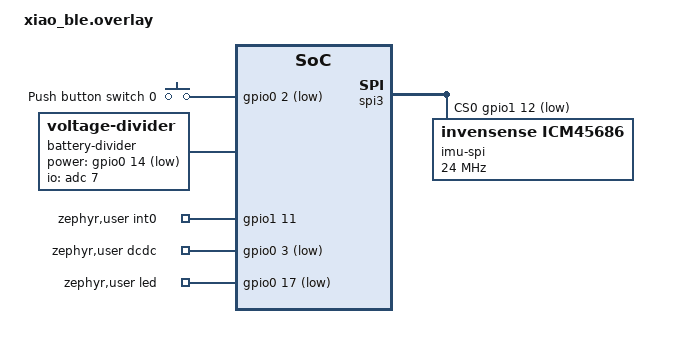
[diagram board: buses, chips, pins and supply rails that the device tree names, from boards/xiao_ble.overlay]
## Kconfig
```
#
# Copyright (c) 2023 Nordic Semiconductor
#
# SPDX-License-Identifier: LicenseRef-Nordic-5-Clause
#

config USE_SLIMENRF_CONSOLE
    bool "Use basic console"
    default y
    help
        Use basic console for commands.

config BATTERY_CHARGER_HAS_NTC
    bool "Battery thermistor"
    help
      Flag for battery NTC thermistor availability.

choice
    prompt "Battery voltage mapping"
    default BATTERY_NO_MAPPING

config BATTERY_USE_REG_BUCK_MAPPING
    bool "Use buck regulator mapping (3.7V battery, DCDC)"
    help
      Use a constant power mapping for battery voltage.
      Preffered for systems with a buck regulator.
      Measured at a system voltage of 3.0V.

config BATTERY_USE_REG_LDO_MAPPING
    bool "Use LDO linear regulator mapping (3.7V battery, LDO)"
    help
      Use a constant current mapping for battery voltage.
      Preferred for systems with a linear regulator.

config BATTERY_USE_NIMH_MAPPING
        bool "Use 1-cell NiMH mapping"
        help
            Use a voltage curve tuned for a single NiMH cell.
            This is intended for primary battery monitoring paths that
            report cell voltage directly, such as nPM2100 VBAT.

config BATTERY_NO_MAPPING
    bool "Disable battery voltage mapping"
    help
      Always map to 100% battery. Disables battery monitoring.

endchoice

config BATTERY_LOW_RUNTIME_THRESHOLD
    int "Low battery runtime threshold (ms)"
    default 10800000
    help
      Trigger low battery when estimated runtime falls below threshold.
      If estimated runtime is not available, low battery will trigger under 10% estimated state of charge.

choice
    prompt "Status LED color mapping"
    default LED_TRI_COLOR

config LED_RGB_COLOR
    bool "Use RGB color mapping"
    help
        Use RGB or RG color mapping for LED status if available.

config LED_TRI_COLOR
    bool "Use default color mapping"
    help
        Use the default color mapping for LED status.

endchoice

menu "Status LED default status color"
    depends on LED_RGB_COLOR

config LED_DEFAULT_COLOR_R
    int "Red value"
    range 0 10000
    default 4000
    depends on LED_RGB_COLOR
    help
        Red color for default status.
        Valid range is 0 to 10000.

config LED_DEFAULT_COLOR_G
    int "Green value"
    range 0 10000
    default 6000
    depends on LED_RGB_COLOR
    help
        Green color for default status.
        Valid range is 0 to 10000.

config LED_DEFAULT_COLOR_B
    int "Blue value"
    range 0 10000
    default 0
    depends on LED_RGB_COLOR
    help
        Blue color for default status.
        Valid range is 0 to 10000.

endmenu

config USER_EXTRA_ACTIONS
    bool "Multiple press actions"
    help
        Allow user to use multiple presses to calibrate, pair, or enter DFU.
        By default, pairing is available when holding down sw0 for 5 seconds.
        By default, DFU is available when holding down sw0 and plugging in a USB cable.

config IGNORE_RESET
    bool "Ignore reset"
    default y
    help
        If sw0 is available, don't perform any extra actions on reset.

config USER_SHUTDOWN
    bool "User shutdown support"
    default y
    help
        Allow user to use reset or sw0 to shutdown.

config USE_IMU_WAKE_UP
    bool "IMU wake up support"
    default y
    help
        Use IMU wake up state if IMU wake up is present.

config DELAY_SLEEP_ON_STATUS
    bool "Delay IMU wake up mode on status flags"
    default y
    depends on USE_IMU_WAKE_UP
    help
        Delay IMU wake up state if there is an active status flag or in pairing mode.

config WOM_USE_DCDC
    bool "Use DCDC in IMU wake up mode"
    depends on USE_IMU_WAKE_UP
    help
        Use DCDC instead of LDO in IMU wake up state if it is more efficient.

config CONNECTION_TIMEOUT_DELAY
    int "Connection timeout delay (ms)"
    default 300000
    depends on USER_SHUTDOWN
    help
        Connection timeout duration when receiver is not detected.

menu "Sensor power saving"

config SENSOR_LP_TIMEOUT
    int "Sensor low power delay (ms)"
    default 500
    help
        Low power timeout during no motion.

config SENSOR_USE_LOW_POWER_2
    bool "Use additional low power modes"
    help
        Use a higher latency sensor mode during no motion.

config USE_IMU_TIMEOUT
    bool "Use IMU wake up state"
    default y
    depends on USE_IMU_WAKE_UP
    help
        Use IMU wake up state during no motion.

config IMU_TIMEOUT_RAMP_MIN
    int "Sensor timeout minimum delay (ms)"
    default 5000
    depends on USE_IMU_TIMEOUT || SENSOR_USE_LOW_POWER_2
    help
        Minimum timeout during no motion. Initial period on wake up.

config IMU_TIMEOUT_RAMP_MAX
    int "Sensor timeout maximum delay (ms)"
    default 15000
    depends on USE_IMU_TIMEOUT || SENSOR_USE_LOW_POWER_2
    help
        Maximum timeout during no motion.

config USE_ACTIVE_TIMEOUT
    bool "Use activity timeout"
    default y
    depends on USE_IMU_WAKE_UP || USER_SHUTDOWN
    help
        Delay IMU wake up state or user shutdown during activity.

choice
    prompt "Activity timeout mode"
    default SLEEP_ON_ACTIVE_TIMEOUT
    depends on USE_ACTIVE_TIMEOUT

config SLEEP_ON_ACTIVE_TIMEOUT
    bool "IMU wake up"
    depends on USE_IMU_WAKE_UP
    help
        Use IMU wake up state when activity timeout elapses.

config SHUTDOWN_ON_ACTIVE_TIMEOUT
    bool "User shutdown"
    depends on USER_SHUTDOWN
    help
        Use user shutdown when activity timeout elapses.

endchoice

config ACTIVE_TIMEOUT_THRESHOLD
    int "Activity timeout threshold (ms)"
    default 15000
    depends on USE_ACTIVE_TIMEOUT
    help
        Trigger activity timeout after a certain threshold of activity.

config ACTIVE_TIMEOUT_DELAY
    int "Activity timeout delay (ms)"
    default 900000
    depends on USE_ACTIVE_TIMEOUT
    help
        Activity timeout duration when triggered.

endmenu

config SENSOR_ACCEL_ODR
    int "Accelerometer output data rate (Hz)"
    default 100
    help
        Requested accelerometer output data rate. Actual rate will be raised to the nearest supported rate.
        A higher rate will increase the time to read and process sensor data.

config SENSOR_GYRO_ODR
    int "Gyrometer output data rate (Hz)"
    default 200
    help
        Requested gyrometer output data rate. Actual rate will be raised to the nearest supported rate.
        A higher rate will increase the time to read and process sensor data.
        A lower rate is recommended for IMUs with poor gyrometer rate noise density. (e.g. BMI270, LSM6DS3TR-C)

config SENSOR_ACCEL_FS
    int "Accelerometer full scale (g)"
    default 4
    help
        Requested accelerometer full scale. Actual scale will be raised to the nearest supported scale.
        A lower scale may improve noise performance, but is more likely to saturate.

config SENSOR_GYRO_FS
    int "Gyrometer full scale (dps)"
    default 1000
    help
        Requested gyrometer full scale. Actual scale will be raised to the nearest supported scale.
        A lower scale may improve noise performance, but is more likely to saturate.

config SENSOR_USE_MAG
    bool "Magnetometer support"
    default y
    help
        Use magnetometer if it is present.

config USE_SENSOR_CLOCK
    bool "Use external IMU clock"
    default y
    help
        Use external IMU clock if it is present.

choice
    prompt "Sensor fusion"
    default SENSOR_USE_VQF
    help
        Select the sensor fusion method.

config SENSOR_USE_XIOFUSION
    bool "Use x-io Technologies Fusion"
    help
        Use x-io Technologies Fusion for sensor fusion.
        Based on Madgwick filter.

config SENSOR_USE_VQF
    bool "Use VQF"
    help
        Use VQF for sensor fusion.
        Based on Kalman filter.

endchoice

config SENSOR_USE_6_SIDE_CALIBRATION
    bool "Use 6-side calibration"
    default y
    depends on USE_SLIMENRF_CONSOLE
    help
        Use 6-side calibration for accelerometer.
        Calibration can be completed through the basic console.

config RADIO_TX_POWER
    int "Radio output power (dBm)"
    default 8
    help
        Radio output power level.
        A lower value may reduce power consumption.

config CONNECTION_OVER_HID
    bool "Use HID for data output"
    help
        Use HID if available.
        Otherwise, use ESB only.

source "Kconfig.zephyr"
```

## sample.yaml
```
tests:
  common:
    platform_allow:
      - nrf21540dk/nrf52840
      - nrf52840dk/nrf52840
      - nrf52840dongle/nrf52840
      - nrf52dk/nrf52832
      - nrf5340dk/nrf5340/cpuapp
      - nrf5340dk/nrf5340/cpunet
      - nrf54l15dk/nrf54l15/cpuapp
      - xiao_ble/nrf52840
      - xiao_ble/nrf52840/sense
      - an54lq-15/nrf54l15/cpuapp
    sysbuild: true
```

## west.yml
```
manifest:
  version: "1.2"
  projects:

    # nRF-Connect SDK
    - name: sdk-nrf
      path: nrf
      url: https://github.com/nrfconnect/sdk-nrf.git
      revision: v3.2.3
      import: true
```

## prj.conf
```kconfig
#CONFIG_NCS_SAMPLES_DEFAULTS
CONFIG_ASSERT=y
CONFIG_ASSERT_NO_COND_INFO=y
CONFIG_ASSERT_NO_MSG_INFO=y
CONFIG_RESET_ON_FATAL_ERROR=y

CONFIG_NCS_APPLICATION_BOOT_BANNER_STRING="SlimeVR-Tracker-nRF"
#CONFIG_NCS_BOOT_BANNER=n
CONFIG_BOOT_BANNER=n

CONFIG_ESB=y
#need to enable for nRF54L
#CONFIG_NRFX_DPPI10=y

CONFIG_ADC=y
CONFIG_ADC_NRFX_SAADC=y
CONFIG_FPU=y
CONFIG_I2C=y
CONFIG_SPI=y
CONFIG_PINCTRL=y

CONFIG_NVS=y
CONFIG_NVS_LOOKUP_CACHE=y
CONFIG_NVS_INIT_BAD_MEMORY_REGION=y

CONFIG_POWEROFF=y
CONFIG_REBOOT=y

CONFIG_FLASH=y
CONFIG_FLASH_PAGE_LAYOUT=y
CONFIG_FLASH_MAP=y

CONFIG_SETTINGS=y
CONFIG_SETTINGS_RUNTIME=y
CONFIG_SETTINGS_NONE=y

CONFIG_MPU_ALLOW_FLASH_WRITE=y

CONFIG_RETAINED_MEM=y

CONFIG_USE_SEGGER_RTT=y
CONFIG_LOG=y
#CONFIG_PRINTK=y
CONFIG_LOG_MODE_DEFERRED=y
CONFIG_LOG_SPEED=y
CONFIG_LOG_BACKEND_RTT=y
CONFIG_CBPRINTF_FP_SUPPORT=y
CONFIG_ADC_LOG_LEVEL_OFF=y
CONFIG_LOG_FUNC_NAME_PREFIX_ERR=y
CONFIG_LOG_BUFFER_SIZE=1536
CONFIG_LOG_BACKEND_UART_AUTOSTART=n
CONFIG_LOG_PROCESS_THREAD_SLEEP_MS=50
CONFIG_LOG_PROCESS_THREAD_STACK_SIZE=1024

CONFIG_PWM=y
CONFIG_GPIO=y

CONFIG_CRC=y

CONFIG_NEWLIB_LIBC=y
#deprecated?
#CONFIG_NRFX_TIMER1=y

#speed up boot? (use internal rc oscillator)
CONFIG_CLOCK_CONTROL_NRF_K32SRC_RC=y
CONFIG_CLOCK_CONTROL_NRF_K32SRC_RC_CALIBRATION=n
#speed up boot? (synthesize lf clock)
#CONFIG_CLOCK_CONTROL_NRF_K32SRC_SYNTH=y

# dont need it
CONFIG_CRYPTO=n

# set timeout for 25ms, sufficient for ~1000 bytes
CONFIG_I2C_NRFX_TRANSFER_TIMEOUT=25

CONFIG_USB_DEVICE_HID=y
CONFIG_USB_DEVICE_VID=0x1209
CONFIG_USB_DEVICE_PID=0x7692
CONFIG_USB_HID_BOOT_PROTOCOL=y
CONFIG_USB_DEVICE_INITIALIZE_AT_BOOT=n
CONFIG_USB_CDC_ACM=y
CONFIG_UART_INTERRUPT_DRIVEN=y
CONFIG_USB_WORKQUEUE_STACK_SIZE=512

CONFIG_SERIAL=y
CONFIG_CONSOLE=y
CONFIG_RTT_CONSOLE=y
CONFIG_UART_CONSOLE=y
CONFIG_UART_LINE_CTRL=y
# fit "write all <base64:173>"
CONFIG_CONSOLE_INPUT_MAX_LINE_LEN=256

CONFIG_LOG=y
CONFIG_USB_DRIVER_LOG_LEVEL_ERR=y
CONFIG_USB_DEVICE_LOG_LEVEL_ERR=y
CONFIG_USB_CDC_ACM_LOG_LEVEL_OFF=y

CONFIG_LOG_BACKEND_UART=y

CONFIG_CONSOLE_SUBSYS=y

CONFIG_NVS_LOG_LEVEL_WRN=y
CONFIG_USB_HID_LOG_LEVEL_WRN=y

CONFIG_USB_DEVICE_SOF=y
CONFIG_USB_HID_REPORTS=256

#CONFIG_USB_HID_POLL_INTERVAL_MS=1
CONFIG_USB_HID_POLL_INTERVAL_MS=0
CONFIG_HID_INTERRUPT_EP_MPS=64
#CONFIG_ENABLE_HID_INT_OUT_EP=y

CONFIG_SYSTEM_WORKQUEUE_STACK_SIZE=256
CONFIG_MAIN_STACK_SIZE=512
#crashing on nrf54l at 512

CONFIG_THREAD_NAME=y

# TODO: because of icm426, this will break things and needs to be raised to at least 3k
CONFIG_HEAP_MEM_POOL_SIZE=2048
CONFIG_ISR_STACK_SIZE=1024

CONFIG_PM_DEVICE=y

CONFIG_BASE64=y

#CONFIG_THREAD_ANALYZER=y
#CONFIG_THREAD_ANALYZER_AUTO=y
#CONFIG_THREAD_ANALYZER_AUTO_INTERVAL=5
```

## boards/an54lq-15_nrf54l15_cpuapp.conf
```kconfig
# AN54LQ-15 (nRF54L15 module) config for SlimeVR-Tracker-nRF

# UART console for logging
CONFIG_UART_CONSOLE=y
CONFIG_LOG_BACKEND_UART=y
CONFIG_LOG_BACKEND_UART_AUTOSTART=y

# Required for timing on nRF54L series
CONFIG_NRF_GRTC_START_SYSCOUNTER=y

# Battery voltage mapping: VDD ≈ battery voltage (VBAT→VDD direct, internal DCDC)
CONFIG_BATTERY_USE_REG_BUCK_MAPPING=y

# nRF54L15 starts up with HW stack protection enabled; too-small stacks
# can overflow immediately (UsageFault STKOF -> forced HardFault).
CONFIG_MAIN_STACK_SIZE=4096
CONFIG_ISR_STACK_SIZE=8192
```

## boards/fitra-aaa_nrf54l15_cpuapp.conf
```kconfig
# FITRA-AAA nRF54L15 (cpuapp) application config overrides

# USB はハードウェア的に未統合のため、グローバルの設定を上書きして無効化
CONFIG_USB_DEVICE_STACK=n
CONFIG_USB_DEVICE_HID=n
CONFIG_USB_CDC_ACM=n

# UART console for logging (UART20 is the default serial port)
CONFIG_UART_CONSOLE=y
CONFIG_LOG_BACKEND_UART=y
CONFIG_LOG_BACKEND_UART_AUTOSTART=y

# Enable detailed logging for debugging
CONFIG_LOG_DEFAULT_LEVEL=3
CONFIG_SENSOR_LOG_LEVEL_DBG=y
# Disable SPI driver debug logs to reduce log buffer usage
CONFIG_SPI_LOG_LEVEL_INF=y
# Increase log buffer size to prevent message drops
CONFIG_LOG_BUFFER_SIZE=4096

# Required for timing on nRF54L series
CONFIG_NRF_GRTC_START_SYSCOUNTER=y

# FITRA-AAA battery path uses nPM2100 VBAT readings with a 1-cell NiMH mapping
CONFIG_SENSOR=y
CONFIG_REGULATOR=y
CONFIG_NPM2100_VBAT=y
CONFIG_I2C_NRFX_TRANSFER_TIMEOUT=100
CONFIG_BATTERY_USE_NIMH_MAPPING=y
CONFIG_LED_RGB_COLOR=y

# nRF54L15 starts up with HW stack protection enabled; too-small stacks
# can overflow immediately (UsageFault STKOF -> forced HardFault).
CONFIG_MAIN_STACK_SIZE=4096

# Interrupt/exception stack (MSP). The default (1024) is too small here and
# we hit STKOF very early during exception handling.
CONFIG_ISR_STACK_SIZE=8192
```

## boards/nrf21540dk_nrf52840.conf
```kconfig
CONFIG_CONSOLE_GETLINE=y

CONFIG_USB_DEVICE_STACK=y
CONFIG_USB_DEVICE_MANUFACTURER="Nordic Semiconductor"
CONFIG_USB_DEVICE_PRODUCT="SlimeNRF Tracker nRF21540 DK"
```

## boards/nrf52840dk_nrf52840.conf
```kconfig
CONFIG_CONSOLE_GETLINE=y

CONFIG_USB_DEVICE_STACK=y
CONFIG_USB_DEVICE_MANUFACTURER="Nordic Semiconductor"
CONFIG_USB_DEVICE_PRODUCT="SlimeNRF Tracker nRF52840 DK"
```

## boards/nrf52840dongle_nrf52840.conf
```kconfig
CONFIG_CONSOLE_GETLINE=y

CONFIG_USB_DEVICE_STACK=y
CONFIG_USB_DEVICE_MANUFACTURER="Nordic Semiconductor"
CONFIG_USB_DEVICE_PRODUCT="SlimeNRF Tracker nRF52840 Dongle"

CONFIG_LED_RGB_COLOR=y
```

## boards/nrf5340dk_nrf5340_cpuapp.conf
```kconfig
CONFIG_CONSOLE_GETLINE=y

CONFIG_USB_DEVICE_STACK=y
CONFIG_USB_DEVICE_MANUFACTURER="Nordic Semiconductor"
CONFIG_USB_DEVICE_PRODUCT="SlimeNRF Tracker nRF5340 DK"

CONFIG_ESB=n
```

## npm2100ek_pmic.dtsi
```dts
/*
 * Copyright (c) 2025 Nordic Semiconductor ASA
 *
 * SPDX-License-Identifier: LicenseRef-Nordic-5-Clause
 */

#include <dt-bindings/regulator/npm2100.h>

npm2100ek_pmic: pmic@74 {
	compatible = "nordic,npm2100";
	reg = <0x74>;

	npm2100ek_gpio: gpio-controller {
		compatible = "nordic,npm2100-gpio";
		gpio-controller;
		#gpio-cells = <2>;
		ngpios = <2>;
	};

	npm2100ek_regulators: regulators {
		compatible = "nordic,npm2100-regulator";

		npm2100ek_boost: BOOST {
			regulator-min-microvolt = <1800000>;
			regulator-max-microvolt = <3300000>;
			regulator-init-microamp = <0>;
		};

		npm2100ek_ldosw: LDOSW {
			regulator-min-microvolt = <800000>;
			regulator-max-microvolt = <3000000>;
		};
	};

	npm2100ek_wdt: watchdog {
		compatible = "nordic,npm2100-wdt";
	};

	npm2100ek_vbat: vbat {
		compatible = "nordic,npm2100-vbat";
	};
};
```

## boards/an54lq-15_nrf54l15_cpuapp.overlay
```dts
/*
 * AN54LQ-15 (nRF54L15 module) application overlay for SlimeVR-Tracker-nRF
 *
 * Default wiring (same as an54lq-15-pinctrl.dtsi):
 *   UART20 : TX=P1.4, RX=P1.5
 *   SPI00  : SCK=P2.6, MOSI=P2.2, MISO=P2.4, CS=P2.5
 *   I2C30  : SDA=P0.2, SCL=P0.3
 */

/ {
	chosen {
		zephyr,console = &uart20;
		zephyr,shell-uart = &uart20;
	};

	/*
	 * Battery: use VDDHDIV5 (channel 12) to measure VDD on nRF54L15.
	 * battery.c handles ch12 specially → input = NRF_SAADC_VDDHDIV5.
	 * output-ohms=1 / full-ohms=5 scale the reading ×5 → actual VDD in mV.
	 * Works for designs where VBAT is connected directly to VDD (no ext. reg.).
	 */
	battery-divider {
		compatible = "voltage-divider";
		status = "okay";
		io-channels = <&adc 12>; /* VDDHDIV5 — triggers nRF54L15 VDD path */
		output-ohms = <1>;
		full-ohms = <5>;
	};

	zephyr,user {
		/*
		 * Optional wiring-specific pins.
		 * Examples:
		 *  - int0-gpios = <&gpio? ? GPIO_ACTIVE_HIGH>;
		 *  - led-gpios  = <&gpio? ? (GPIO_OPEN_DRAIN | GPIO_ACTIVE_LOW)>;
		 */
	};
};

/* SPI00: high-speed SPI for IMU (+ optional SPI magnetometer) */
&spi00 {
	imu_spi: imu_spi@0 {
		compatible = "vnd,spi-device";
		spi-max-frequency = <DT_FREQ_M(8)>;
		label = "imu-spi";
		reg = <0>;
		/* Mode 3: CPOL=1, CPHA=1 — works with most IMUs */
		spi-cpol;
		spi-cpha;
	};

	/* CS pin: P2.5 — adjust to match your hardware wiring */
	cs-gpios = <&gpio2 5 GPIO_ACTIVE_LOW>;
};
```

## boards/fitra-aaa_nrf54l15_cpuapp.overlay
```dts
// &pwm20 {
	//     status = "okay";
	//     pinctrl-0 = <&pwm20_default>;
	//     pinctrl-1 = <&pwm20_sleep>;
	//     pinctrl-names = "default", "sleep";
// };

/ {
	/*
	 * Fitra project board (nRF54L15/AN54LQ-15) application overlay
	 *
	 * This overlay intentionally relies on the board's *standard* pin mapping
	 * (Zephyr's fitra-aaa_nrf54l15_cpuapp board DTS) for the buses:
	 * - I2C: P0.02 P0.03 (nPM2100 on I2C30)
	 * - SPI: P2.6 P2.2 P2.4
	 *
	 * Only the required nodes for SlimeVR-Tracker-nRF are added here.
	 */

	chosen {
		zephyr,console = &uart20;
		zephyr,shell-uart = &uart20;
		zephyr,uart-mcumgr = &uart20;
		zephyr,bt-mon-uart = &uart20;
		zephyr,bt-c2h-uart = &uart20;
	};

	zephyr,user {
		/*
		 * Optional wiring-specific pins can be added here.
		 * Examples:
		 *  - int0-gpios = <&gpio? ? GPIO_ACTIVE_HIGH>;
		 *  - led-gpios = <&gpio? ? (GPIO_OPEN_DRAIN | GPIO_ACTIVE_LOW)>;
		 */
		//  int0-gpios = <&gpio0 0 GPIO_ACTIVE_HIGH>;
	};
};

&adc {
	status = "okay";
};


&gpio1 {
	status = "okay";
};

&gpio0 {
	status = "okay";
};

&gpio2 {
	status = "okay";
};

&gpiote20 {
	status = "okay";
};

&gpiote30 {
	status = "okay";
};

&clock {
	status = "okay";
};

/* nPM2100 PMIC and optional built-in IMU on I2C30 */
&i2c30 {
	status = "okay";
	pinctrl-0 = <&i2c30_default>;
	pinctrl-1 = <&i2c30_sleep>;
	pinctrl-names = "default", "sleep";
	clock-frequency = <I2C_BITRATE_STANDARD>;

	#include "../npm2100ek_pmic.dtsi"

	lsm6ds3tr_c: lsm6ds3tr-c@6a {
		compatible = "st,lsm6dsl";
		reg = <0x6a>;
		irq-gpios = <&gpio0 2 GPIO_ACTIVE_HIGH>;
		label = "lsm6ds3tr-c";
	};
};

/* SPI IMU (+ optional SPI magnetometer) */
&spi00 {
	status = "okay";
	/* LSM6DSV16X requires SPI Mode 0 (CPOL=0, CPHA=0) or Mode 3 (CPOL=1, CPHA=1) */
	/* Try Mode 3 - some sensors work better with this mode */

	imu_spi: imu_spi@0 {
		compatible = "vnd,spi-device";
		spi-max-frequency = <DT_FREQ_M(8)>; /* Start with 1MHz for debugging */
		label = "imu-spi";
		reg = <0>;
		/* Mode 3: CPOL=1, CPHA=1 */
		spi-cpol;
		spi-cpha;
	};

	// mag_spi: mag_spi@1 {
		//     compatible = "vnd,spi-device";
		//     spi-max-frequency = <DT_FREQ_M(10)>;
		//     label = "mag-spi";
		//     reg = <1>;
	// };

	cs-gpios = <&gpio2 8 GPIO_ACTIVE_LOW>;
};

/*
 * Note: This board DTS does not define an on-board IMU node label.
 * If a board variant adds an IMU, disable it in that variant's overlay.
 */


/* uart20 pinctrl and current-speed are defined in fitra-aaa_common.dtsi */
&uart20 {
	status = "okay";
};


/* Explicitly disable I2C22 at the end of the overlay to override any base board settings */
&i2c22 {
	status = "disabled";
};
```

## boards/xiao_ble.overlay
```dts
&i2c1_default {
	group1 {
		bias-disable;
	};
};

&i2c1_sleep {
	group1 {
		bias-disable;
	};
};

&pwm0_default {
	group1 {
		psels = <NRF_PSEL(PWM_OUT0, 0, 26)>,
			<NRF_PSEL(PWM_OUT1, 0, 30)>,
			<NRF_PSEL(PWM_OUT2, 0, 6)>;
		nordic,drive-mode = <NRF_DRIVE_D0S1>;
		nordic,invert;
	};
};

&pwm0_sleep {
	group1 {
		psels = <NRF_PSEL(PWM_OUT0, 0, 26)>,
			<NRF_PSEL(PWM_OUT1, 0, 30)>,
			<NRF_PSEL(PWM_OUT2, 0, 6)>;
	};
};

/ {
	pwmleds {
		pwm_led0: pwm_led_0 {
			pwms = <&pwm0 0 PWM_MSEC(1) PWM_POLARITY_INVERTED>;
		};
		pwm_led1: pwm_led_1 {
			pwms = <&pwm0 1 PWM_MSEC(1) PWM_POLARITY_INVERTED>;
		};
		pwm_led2: pwm_led_2 {
			pwms = <&pwm0 2 PWM_MSEC(1) PWM_POLARITY_INVERTED>;
		};
	};

	buttons {
		compatible = "gpio-keys";
		button0: button_0 {
			gpios = <&gpio0 2 (GPIO_PULL_UP | GPIO_ACTIVE_LOW)>;
			label = "Push button switch 0";
		};
	};

	aliases {
		sw0 = &button0; // Uncomment to Enable SW0
		pwm-led1 = &pwm_led1;
		pwm-led2 = &pwm_led2;
	};

	battery-divider {
        compatible = "voltage-divider";
        status = "okay";
        io-channels = <&adc 7>;
        output-ohms = <510000>;
        full-ohms = <(1000000+510000)>;
        power-gpios = <&gpio0 14 (GPIO_OPEN_DRAIN|GPIO_ACTIVE_LOW)>;
	};

	zephyr,user {
		int0-gpios = <&gpio1 11 0>;
		dcdc-gpios = <&gpio0 3 (GPIO_ACTIVE_LOW)>;
		led-gpios = <&gpio0 17 (GPIO_OPEN_DRAIN|GPIO_ACTIVE_LOW)>;
		// clk-gpios = <&gpio0 28 GPIO_OPEN_DRAIN>; // Uncomment and set to correct pin if using an external clock (crystal oscillator)
	};

};

/delete-node/ &uart0;

&i2c1 {
	status = "disabled";
	compatible = "nordic,nrf-twim";
	zephyr,concat-buf-size = <1023>;
	zephyr,flash-buf-max-size = <1023>;
	clock-frequency = <I2C_BITRATE_FAST>;

	imu: imu@0 { // any address out of range (00, 7f, etc. will search all addresses and stored address first if available, specify an address here to search first otherwise
		status = "disabled";
		compatible = "i2c-device";
		label = "imu";
		reg = <0>;
	};

	mag: mag@0 {
		status = "disabled";
		compatible = "i2c-device";
		label = "mag";
		reg = <0>; // 0x7c>;
	};

};

/delete-node/ &spi2;
/delete-node/ &qspi;

&spi3 {
	compatible = "nordic,nrf-spim";
	status = "okay";
	max-frequency = <DT_FREQ_M(24)>;
	pinctrl-0 = <&spi2_default>;
	pinctrl-1 = <&spi2_sleep>;
	pinctrl-names = "default", "sleep";
	cs-gpios = <&gpio1 12 GPIO_ACTIVE_LOW>;

	imu_spi: imu_spi@0 {
		compatible = "invensense,icm45686";
		spi-max-frequency = <DT_FREQ_M(24)>;
		label = "imu-spi";
		reg = <0>;
	};
};

&cryptocell {
	status = "disabled";
};

&nfct {
	status = "disabled";
};
```

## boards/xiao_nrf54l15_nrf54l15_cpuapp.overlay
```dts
/delete-node/ &{/pin-controller/uart21_default/group2/};
/delete-node/ &{/pin-controller/uart21_default/group1/};
&vbat_pwr {
	/delete-property/ enable-gpios;
};

/ {
	/*
	 * XIAO nRF54L15 (cpuapp) application overlay
	 *
	 * This overlay intentionally relies on the board's *standard* pin mapping
	 * (Zephyr's xiao_nrf54l15 board DTS) for the buses:
	 * - I2C: D4/D5
	 * - SPI: D8/D9/D10
	 *
	 * Only the required nodes for SlimeVR-Tracker-nRF are added here.
	 */

	chosen {
		zephyr,console = &uart20;
		zephyr,shell-uart = &uart20;
	};

	battery-divider {
		compatible = "voltage-divider";
		status = "okay";
		/* XIAO nRF54L15 Sense Battery: AIN7 (P1.14) with Power Control (P1.15) */
		io-channels = <&adc 7>;
		output-ohms = <1000000>;
		full-ohms = <2000000>;
		power-gpios = <&gpio1 15 GPIO_ACTIVE_HIGH>;
	};

	zephyr,user {
		/*
		 * Optional wiring-specific pins can be added here.
		 * Examples:
		 *  - int0-gpios = <&gpio? ? GPIO_ACTIVE_HIGH>;
		 *  - led-gpios = <&gpio? ? (GPIO_OPEN_DRAIN | GPIO_ACTIVE_LOW)>;
		 */
	};
};

/* Built-in IMU (LSM6DS3TR-C) on I2C30 */
&i2c30 {
	status = "disabled";
	clock-frequency = <I2C_BITRATE_FAST>;

	lsm6ds3tr_c: lsm6ds3tr-c@6a {
		compatible = "st,lsm6dsl";
		reg = <0x6a>;
		irq-gpios = <&gpio0 2 GPIO_ACTIVE_HIGH>;
		label = "lsm6ds3tr-c";
	};
};

/* SPI IMU (+ optional SPI magnetometer) */
&spi00 {
	status = "okay";
	/* LSM6DSV16X requires SPI Mode 0 (CPOL=0, CPHA=0) or Mode 3 (CPOL=1, CPHA=1) */
	/* Try Mode 3 - some sensors work better with this mode */

	imu_spi: imu_spi@0 {
		compatible = "vnd,spi-device";
		// compatible = "st,lsm6dsv16x";
		spi-max-frequency = <DT_FREQ_M(8)>; /* Start with 1MHz for debugging */
		label = "imu-spi";
		reg = <0>;
		/* Mode 3: CPOL=1, CPHA=1 */
		spi-cpol;
		spi-cpha;
	};

	// mag_spi: mag_spi@1 {
		//     compatible = "vnd,spi-device";
		//     spi-max-frequency = <DT_FREQ_M(10)>;
		//     label = "mag-spi";
		//     reg = <1>;
	// };

	cs-gpios = <&gpio2 7 GPIO_ACTIVE_LOW>;
};

/*
 * Note: This board DTS does not define an on-board IMU node label.
 * If a board variant adds an IMU, disable it in that variant's overlay.
 */


&uart21_sleep {
	group1 {
		psels = <NRF_PSEL(UART_TX, 2, 8)>;
	};
};

&uart20 {
	status = "okay";
};




/* Explicitly disable I2C22 at the end of the overlay to override any base board settings */
&i2c22 {
	status = "disabled";
};
```

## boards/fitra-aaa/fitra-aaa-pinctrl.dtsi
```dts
/*
 * Copyright (c) 2024 Nordic Semiconductor ASA
 *
 * SPDX-License-Identifier: Apache-2.0
 */

&pinctrl {
	/omit-if-no-ref/ uart20_default: uart20_default {
		group1 {
			psels = <NRF_PSEL(UART_TX, 1, 4)>;
		};

		group2 {
			psels = <NRF_PSEL(UART_RX, 1, 5)>;
			bias-pull-up;
		};
	};

	/omit-if-no-ref/ uart20_sleep: uart20_sleep {
		group1 {
			psels = <NRF_PSEL(UART_TX, 1, 4)>,
				<NRF_PSEL(UART_RX, 1, 5)>;
			low-power-enable;
		};
	};

	/omit-if-no-ref/ uart30_default: uart30_default {
		group1 {
			psels = <NRF_PSEL(UART_TX, 0, 0)>,
				<NRF_PSEL(UART_RTS, 0, 2)>;
		};

		group2 {
			psels = <NRF_PSEL(UART_RX, 0, 1)>,
				<NRF_PSEL(UART_CTS, 0, 3)>;
			bias-pull-up;
		};
	};

	/omit-if-no-ref/ uart30_sleep: uart30_sleep {
		group1 {
			psels = <NRF_PSEL(UART_TX, 0, 0)>,
				<NRF_PSEL(UART_RX, 0, 1)>,
				<NRF_PSEL(UART_RTS, 0, 2)>,
				<NRF_PSEL(UART_CTS, 0, 3)>;
			low-power-enable;
		};
	};

	/omit-if-no-ref/ i2c30_default: i2c30_default {
		group1 {
			psels = <NRF_PSEL(TWIM_SDA, 0, 2)>,
				<NRF_PSEL(TWIM_SCL, 0, 3)>;
			bias-pull-up;
		};
	};

	/omit-if-no-ref/ i2c30_sleep: i2c30_sleep {
		group1 {
			psels = <NRF_PSEL(TWIM_SDA, 0, 2)>,
				<NRF_PSEL(TWIM_SCL, 0, 3)>;
			low-power-enable;
		};
	};

	/omit-if-no-ref/ spi00_default: spi00_default {
		group1 {
			psels = <NRF_PSEL(SPIM_SCK, 2, 6)>,
				<NRF_PSEL(SPIM_MOSI, 2, 2)>;
		};

		group2 {
			psels = <NRF_PSEL(SPIM_MISO, 2, 4)>;
			bias-pull-up;
		};
	};

	/omit-if-no-ref/ spi00_sleep: spi00_sleep {
		group1 {
			psels = <NRF_PSEL(SPIM_SCK, 2, 6)>,
				<NRF_PSEL(SPIM_MOSI, 2, 2)>;
			low-power-enable;
		};

		group2 {
			psels = <NRF_PSEL(SPIM_MISO, 2, 4)>;
			bias-pull-up;
			low-power-enable;
		};
	};

	/omit-if-no-ref/ spi22_default: spi22_default {
		group1 {
			psels = <NRF_PSEL(SPIM_SCK, 1, 3)>,
				<NRF_PSEL(SPIM_MOSI, 1, 7)>,
				<NRF_PSEL(SPIM_MISO, 1, 6)>;
		};
	};

	/omit-if-no-ref/ spi22_sleep: spi22_sleep {
		group1 {
			psels = <NRF_PSEL(SPIM_SCK, 1, 3)>,
				<NRF_PSEL(SPIM_MOSI, 1, 7)>,
				<NRF_PSEL(SPIM_MISO, 1, 6)>;
			low-power-enable;
		};
	};

	/omit-if-no-ref/ pwm20_default: pwm20_default {
		group1 {
			psels = <NRF_PSEL(PWM_OUT0, 1, 10)>;
		};
	};

	/omit-if-no-ref/ pwm20_sleep: pwm20_sleep {
		group1 {
			psels = <NRF_PSEL(PWM_OUT0, 1, 10)>;
			low-power-enable;
		};
	};

	/omit-if-no-ref/ grtc_default: grtc_default {
		group1 {
			psels = <NRF_PSEL(GRTC_CLKOUT_FAST, 1, 8)>,
				<NRF_PSEL(GRTC_CLKOUT_32K, 0, 4)>;
		};
	};

	/omit-if-no-ref/ grtc_sleep: grtc_sleep {
		group1 {
			psels = <NRF_PSEL(GRTC_CLKOUT_FAST, 1, 8)>,
				<NRF_PSEL(GRTC_CLKOUT_32K, 0, 4)>;
			low-power-enable;
		};
	};
};
```

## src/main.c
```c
/*
	SlimeVR Code is placed under the MIT license
	Copyright (c) 2025 SlimeVR Contributors

	Permission is hereby granted, free of charge, to any person obtaining a copy
	of this software and associated documentation files (the "Software"), to deal
	in the Software without restriction, including without limitation the rights
	to use, copy, modify, merge, publish, distribute, sublicense, and/or sell
	copies of the Software, and to permit persons to whom the Software is
	furnished to do so, subject to the following conditions:

	The above copyright notice and this permission notice shall be included in
	all copies or substantial portions of the Software.

	THE SOFTWARE IS PROVIDED "AS IS", WITHOUT WARRANTY OF ANY KIND, EXPRESS OR
	IMPLIED, INCLUDING BUT NOT LIMITED TO THE WARRANTIES OF MERCHANTABILITY,
	FITNESS FOR A PARTICULAR PURPOSE AND NONINFRINGEMENT. IN NO EVENT SHALL THE
	AUTHORS OR COPYRIGHT HOLDERS BE LIABLE FOR ANY CLAIM, DAMAGES OR OTHER
	LIABILITY, WHETHER IN AN ACTION OF CONTRACT, TORT OR OTHERWISE, ARISING FROM,
	OUT OF OR IN CONNECTION WITH THE SOFTWARE OR THE USE OR OTHER DEALINGS IN
	THE SOFTWARE.
*/
#include "globals.h"
#include "system/system.h"
//#include "timer.h"
#include "connection/esb.h"
#include "sensor/sensor.h"

#include <zephyr/sys/reboot.h>

#define DFU_DBL_RESET_MEM 0x20007F7C
#define DFU_DBL_RESET_APP 0x4ee5677e

static uint32_t *dbl_reset_mem __attribute__((unused)) = ((uint32_t *)DFU_DBL_RESET_MEM); // retained

LOG_MODULE_REGISTER(main, LOG_LEVEL_INF);

#if DT_NODE_HAS_PROP(DT_ALIAS(sw0), gpios)
#define BUTTON_EXISTS true
#endif

#define DFU_EXISTS CONFIG_BUILD_OUTPUT_UF2 || CONFIG_BOARD_HAS_NRF5_BOOTLOADER
#define ADAFRUIT_BOOTLOADER CONFIG_BUILD_OUTPUT_UF2

int main(void)
{
#ifdef NRF_RESET
	uint32_t resetreas = NRF_RESET->RESETREAS;
	bool reset_pin_reset = resetreas & RESET_RESETREAS_RESETPIN_Msk;
	bool system_off_reset = resetreas & RESET_RESETREAS_OFF_Msk;
	NRF_RESET->RESETREAS = resetreas; // Clear RESETREAS
#else
	uint32_t resetreas = NRF_POWER->RESETREAS;
	bool reset_pin_reset = resetreas & POWER_RESETREAS_RESETPIN_Msk;
	bool system_off_reset = resetreas & POWER_RESETREAS_OFF_Msk;
	NRF_POWER->RESETREAS = resetreas; // Clear RESETREAS
#endif

#if BUTTON_EXISTS
	if (CONFIG_0_SETTINGS_READ(CONFIG_0_IGNORE_RESET))
		reset_pin_reset = false;
#endif

	set_led(SYS_LED_PATTERN_ONESHOT_WAKE, SYS_LED_PRIORITY_BOOT); // Boot LED

	bool button_pressed = button_read();
	uint8_t reboot_counter = reboot_counter_read();
	bool booting_from_shutdown = !reboot_counter && (system_off_reset || reset_pin_reset || button_pressed); // 0 means from user shutdown or failed ram validation

	/* if button is not held after booting from shutdown, power off again
	 * if button press is normal, continue boot
	 * if button is held for 1 second, reset pairing and continue boot
	 * if button is held but tracker was waking (not booting from shutdown) ignore the press // TODO: should it pass on to regular handler (e.g. intent to shutdown)
	 */

	if (booting_from_shutdown)
	{
		set_led(SYS_LED_PATTERN_ONESHOT_POWERON, SYS_LED_PRIORITY_BOOT);
		if (button_read())
		{
			set_status(SYS_STATUS_BUTTON_PRESSED, true); // prevent going to sleep while still holding
			int64_t start_time = k_uptime_get();
			while (button_read())
			{
				if (k_uptime_get() - start_time > 1000)
				{
					LOG_INF("Pairing requested");
					esb_reset_pair();
					break;
				}
				k_msleep(1);
			}
			if (CONFIG_0_SETTINGS_READ(CONFIG_0_USER_SHUTDOWN) && k_uptime_get() - start_time < 50) // debounce // TODO: does sense pin stay configured?
				sys_request_system_off(false);
			set_status(SYS_STATUS_BUTTON_PRESSED, false);
		}
	}

	bool docked = dock_read();

	uint8_t reset_mode = -1;

	if (reboot_counter == 0)
		reboot_counter = 100;
	else if (reboot_counter > 200)
		reboot_counter = 200; // How did you get here
	reset_mode = reboot_counter - 100;
	if (reset_pin_reset && !docked) // Count pin resets while not docked
	{
		reboot_counter++;
		reboot_counter_write(reboot_counter);
		LOG_INF("Reset count: %u", reboot_counter);
#if ADAFRUIT_BOOTLOADER
#if BUTTON_EXISTS
		if (!CONFIG_0_SETTINGS_READ(CONFIG_0_IGNORE_RESET))
			(*dbl_reset_mem) = DFU_DBL_RESET_APP; // Using Adafruit bootloader, skip DFU if reset button could be used
#else
		(*dbl_reset_mem) = DFU_DBL_RESET_APP; // Using Adafruit bootloader, skip DFU since reset button is used
#endif
#endif
		k_msleep(1000); // Wait before clearing counter and continuing
	}
	reboot_counter_write(100);
	if (!(reset_pin_reset || system_off_reset) && reset_mode == 0) // Only need to check once, if the button is pressed again an interrupt is triggered from before
		reset_mode = -1; // Cancel reset_mode (shutdown)

	if (CONFIG_0_SETTINGS_READ(CONFIG_0_USER_SHUTDOWN))
	{
		bool charging = chg_read();
		bool charged = stby_read();
		bool plugged = vin_read();

		if (reset_mode == 0 && !booting_from_shutdown && !charging && !charged && !plugged) // Reset mode user shutdown, only if unplugged and undocked
			sys_user_shutdown();
	}

	sys_reset_mode(reset_mode);

	return 0;
}
```

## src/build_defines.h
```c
/*
        SlimeVR Code is placed under the MIT license
        Copyright (c) 2025 SlimeVR Contributors

        Permission is hereby granted, free of charge, to any person obtaining a
   copy of this software and associated documentation files (the "Software"), to
   deal in the Software without restriction, including without limitation the
   rights to use, copy, modify, merge, publish, distribute, sublicense, and/or
   sell copies of the Software, and to permit persons to whom the Software is
        furnished to do so, subject to the following conditions:

        The above copyright notice and this permission notice shall be included
   in all copies or substantial portions of the Software.

        THE SOFTWARE IS PROVIDED "AS IS", WITHOUT WARRANTY OF ANY KIND, EXPRESS
   OR IMPLIED, INCLUDING BUT NOT LIMITED TO THE WARRANTIES OF MERCHANTABILITY,
        FITNESS FOR A PARTICULAR PURPOSE AND NONINFRINGEMENT. IN NO EVENT SHALL
   THE AUTHORS OR COPYRIGHT HOLDERS BE LIABLE FOR ANY CLAIM, DAMAGES OR OTHER
        LIABILITY, WHETHER IN AN ACTION OF CONTRACT, TORT OR OTHERWISE, ARISING
   FROM, OUT OF OR IN CONNECTION WITH THE SOFTWARE OR THE USE OR OTHER DEALINGS
   IN THE SOFTWARE.
*/
#include "sensor/sensors_enum.h"
#include "system/status.h"

#include <stdbool.h>
#include <stdint.h>

#include "app_version.h"

#ifdef CONFIG_NCS_APPLICATION_BOOT_BANNER_STRING
#define FW_NAME CONFIG_NCS_APPLICATION_BOOT_BANNER_STRING
#else
#define FW_NAME "SlimeNRF Tracker"
#endif
#define FW_VERSION_MAJOR APP_VERSION_MAJOR
#define FW_VERSION_MINOR APP_VERSION_MINOR
#define FW_VERSION_PATCH APP_PATCHLEVEL

static uint8_t get_server_constant_imu_id(int id) __attribute__((unused));
static uint8_t get_server_constant_mag_id(int id) __attribute__((unused));
static uint8_t get_server_constant_tracker_status(int status)
    __attribute__((unused));

// constants from server, should include BoardType, MCUType, IMUType, MagType
// (not yet)
// https://github.com/SlimeVR/SlimeVR-Server/blob/main/server/core/src/main/java/dev/slimevr/tracking/trackers/udp/FirmwareConstants.kt
#define SVR_IMU_UNKNOWN 0
#define SVR_IMU_MPU9250 1
#define SVR_IMU_MPU6500 2
#define SVR_IMU_BNO080 3
#define SVR_IMU_BNO085 4
#define SVR_IMU_BNO055 5
#define SVR_IMU_MPU6050 6
#define SVR_IMU_BNO086 7
#define SVR_IMU_BMI160 8
#define SVR_IMU_ICM20948 9
#define SVR_IMU_ICM42688 10
#define SVR_IMU_BMI270 11
#define SVR_IMU_LSM6DS3TRC 12
#define SVR_IMU_LSM6DSV 13
#define SVR_IMU_LSM6DSO 14
#define SVR_IMU_LSM6DSR 15
#define SVR_IMU_ICM45686 16
#define SVR_IMU_ICM45605 17
#define SVR_IMU_ADC_RESISTANCE 18
#define SVR_IMU_DEV_RESERVED 250

#define SVR_BOARD_UNKNOWN 0
#define SVR_BOARD_SLIMEVR_LEGACY 1
#define SVR_BOARD_SLIMEVR_DEV 2
#define SVR_BOARD_NODEMCU 3
#define SVR_BOARD_CUSTOM 4
#define SVR_BOARD_WROOM32 5
#define SVR_BOARD_WEMOSD1MINI 6
#define SVR_BOARD_TTGO_TBASE 7
#define SVR_BOARD_ESP01 8
#define SVR_BOARD_SLIMEVR 9
#define SVR_BOARD_LOLIN_C3_MINI 10
#define SVR_BOARD_BEETLE32C32 11
#define SVR_BOARD_ES32C3DEVKITM1 12
#define SVR_BOARD_OWOTRACK 13
#define SVR_BOARD_WRANGLER 14
#define SVR_BOARD_MOCOPI 15
#define SVR_BOARD_WEMOSWROOM02 16
#define SVR_BOARD_XIAO_ESP32C3 17
#define SVR_BOARD_HARITORA 18
#define SVR_BOARD_ESP32C6DEVKITC1 19
#define SVR_BOARD_GLOVE_IMU_SLIMEVR_DEV 20
#define SVR_BOARD_GESTURES 21
#define SVR_BOARD_SLIMEVR_V1_2 22
#define SVR_BOARD_ESP32S3_SUPERMINI 23
#define SVR_BOARD_GENERIC_NRF 24
#define SVR_BOARD_SLIMEVR_BUTTERFLY_DEV 25
#define SVR_BOARD_SLIMEVR_BUTTERFLY 26
#define SVR_BOARD_DEV_RESERVED 250

#define SVR_MCU_UNKNOWN 0
#define SVR_MCU_ESP8266 1
#define SVR_MCU_ESP32 2
#define SVR_MCU_OWOTRACK_ANDROID 3
#define SVR_MCU_WRANGLER 4
#define SVR_MCU_OWOTRACK_IOS 5
#define SVR_MCU_ESP32_C3 6
#define SVR_MCU_MOCOPI 7
#define SVR_MCU_HARITORA 8
#define SVR_MCU_NRF52 9
#define SVR_MCU_NRF54L 10
#define SVR_MCU_DEV_RESERVED 250

#define SVR_MAG_STATUS_NOT_SUPPORTED 0
#define SVR_MAG_STATUS_DISABLED 1
#define SVR_MAG_STATUS_ENABLED 2

// https://github.com/SlimeVR/SlimeVR-Server/blob/main/server/core/src/main/java/dev/slimevr/tracking/trackers/TrackerStatus.kt
#define SVR_STATUS_DISCONNECTED 0
#define SVR_STATUS_OK 1
#define SVR_STATUS_BUSY 2
#define SVR_STATUS_ERROR 3
#define SVR_STATUS_OCCLUDED 4
#define SVR_STATUS_TIMED_OUT 5

#if CONFIG_BOARD_SLIMEVRMINI_P1_UF2 || CONFIG_BOARD_SLIMEVRMINI_P2_UF2 ||      \
    CONFIG_BOARD_SLIMEVRMINI_P3R6_UF2 || CONFIG_BOARD_SLIMEVRMINI_P3R7_UF2 ||  \
    CONFIG_BOARD_SLIMEVRMINI_P4_UF2 || CONFIG_BOARD_SLIMEVRMINI_P4R9_UF2
#define FW_BOARD SVR_BOARD_SLIMEVR_BUTTERFLY_DEV
#else
#define FW_BOARD SVR_BOARD_GENERIC_NRF
#endif

#if CONFIG_SOC_SERIES_NRF52X
#define FW_MCU SVR_MCU_NRF52
#elif CONFIG_SOC_SERIES_NRF54LX
#define FW_MCU SVR_MCU_NRF54L
#else
#define FW_MCU 0
#endif

static uint8_t get_server_constant_imu_id(int id) {
  switch (id) {
  case IMU_BMI160:
    return SVR_IMU_BMI160;
  case IMU_BMI270:
    return SVR_IMU_BMI270;
  case IMU_BMI323:
    return 0;
  case IMU_MPU6050:
    return SVR_IMU_MPU6050;
  case IMU_MPU6500:
    return SVR_IMU_MPU6500;
  case IMU_MPU9250:
    return SVR_IMU_MPU9250;
  case IMU_ICM20948:
    return SVR_IMU_ICM20948;
  case IMU_ICM42688:
    return SVR_IMU_ICM42688;
  case IMU_ICM45686:
    return SVR_IMU_ICM45686;
  case IMU_ISM330IS:
    return 0;
  case IMU_LSM6DS3:
    return 0;
  case IMU_LSM6DSM:
    return SVR_IMU_LSM6DS3TRC;
  case IMU_LSM6DSR:
    return SVR_IMU_LSM6DSR;
  case IMU_LSM6DSO:
    return SVR_IMU_LSM6DSO;
  case IMU_LSM6DST:
    return 0;
  case IMU_LSM6DSV:
    return SVR_IMU_LSM6DSV;
  case IMU_ISM330BX:
    return SVR_IMU_LSM6DSV; // not really
  default:
    return SVR_IMU_UNKNOWN;
  }
}

// does not exist in server enums yet
static uint8_t get_server_constant_mag_id(int id) {
  return SVR_MAG_STATUS_NOT_SUPPORTED;
  //	switch (id)
  //	{
  //	case MAG_HMC5883L:
  //		return 0;
  //	case MAG_QMC5883L:
  //		return 0;
  //	case MAG_AK8963:
  //		return 0;
  //	case MAG_AK09916:
  //		return 0;
  //	case MAG_AK09940:
  //		return 0;
  //	case MAG_BMM150:
  //		return 0;
  //	case MAG_BMM350:
  //		return 0;
  //	case MAG_IST8306:
  //		return 0;
  //	case MAG_IST8308:
  //		return 0;
  //	case MAG_IST8320:
  //		return 0;
  //	case MAG_IST8321:
  //		return 0;
  //	case MAG_LIS2MDL:
  //		return 0;
  //	case MAG_LIS3MDL:
  //		return 0;
  //	case MAG_MMC34160PJ:
  //		return 0;
  //	case MAG_MMC3630KJ:
  //		return 0;
  //	case MAG_MMC5633NJL:
  //		return 0;
  //	case MAG_MMC5616WA:
  //		return 0;
  //	case MAG_MMC5983MA:
  //		return 0;
  //	default:
  //		return 0;
  //	}
}

static uint8_t get_server_constant_tracker_status(int status) {
  if (status & (SYS_STATUS_SENSOR_ERROR | SYS_STATUS_SYSTEM_ERROR))
    return SVR_STATUS_ERROR;
  else
    return SVR_STATUS_OK;
}

// https://stackoverflow.com/questions/11697820/how-to-use-date-and-time-predefined-macros-in-as-two-integers-then-stri
#define COMPUTE_BUILD_YEAR                                                     \
  ((__DATE__[7] - '0') * 1000 + (__DATE__[8] - '0') * 100 +                    \
   (__DATE__[9] - '0') * 10 + (__DATE__[10] - '0'))

#define COMPUTE_BUILD_DAY                                                      \
  (((__DATE__[4] >= '0') ? (__DATE__[4] - '0') * 10 : 0) + (__DATE__[5] - '0'))

#define BUILD_MONTH_IS_JAN                                                     \
  (__DATE__[0] == 'J' && __DATE__[1] == 'a' && __DATE__[2] == 'n')
#define BUILD_MONTH_IS_FEB (__DATE__[0] == 'F')
#define BUILD_MONTH_IS_MAR                                                     \
  (__DATE__[0] == 'M' && __DATE__[1] == 'a' && __DATE__[2] == 'r')
#define BUILD_MONTH_IS_APR (__DATE__[0] == 'A' && __DATE__[1] == 'p')
#define BUILD_MONTH_IS_MAY                                                     \
  (__DATE__[0] == 'M' && __DATE__[1] == 'a' && __DATE__[2] == 'y')
#define BUILD_MONTH_IS_JUN                                                     \
  (__DATE__[0] == 'J' && __DATE__[1] == 'u' && __DATE__[2] == 'n')
#define BUILD_MONTH_IS_JUL                                                     \
  (__DATE__[0] == 'J' && __DATE__[1] == 'u' && __DATE__[2] == 'l')
#define BUILD_MONTH_IS_AUG (__DATE__[0] == 'A' && __DATE__[1] == 'u')
#define BUILD_MONTH_IS_SEP (__DATE__[0] == 'S')
#define BUILD_MONTH_IS_OCT (__DATE__[0] == 'O')
#define BUILD_MONTH_IS_NOV (__DATE__[0] == 'N')
#define BUILD_MONTH_IS_DEC (__DATE__[0] == 'D')

#define COMPUTE_BUILD_MONTH                                                    \
  ((BUILD_MONTH_IS_JAN)   ? 1                                                  \
   : (BUILD_MONTH_IS_FEB) ? 2                                                  \
   : (BUILD_MONTH_IS_MAR) ? 3                                                  \
   : (BUILD_MONTH_IS_APR) ? 4                                                  \
   : (BUILD_MONTH_IS_MAY) ? 5                                                  \
   : (BUILD_MONTH_IS_JUN) ? 6                                                  \
   : (BUILD_MONTH_IS_JUL) ? 7                                                  \
   : (BUILD_MONTH_IS_AUG) ? 8                                                  \
   : (BUILD_MONTH_IS_SEP) ? 9                                                  \
   : (BUILD_MONTH_IS_OCT) ? 10                                                 \
   : (BUILD_MONTH_IS_NOV) ? 11                                                 \
   : (BUILD_MONTH_IS_DEC) ? 12                                                 \
                          : /* error default */ 99)

#define COMPUTE_BUILD_HOUR ((__TIME__[0] - '0') * 10 + __TIME__[1] - '0')
#define COMPUTE_BUILD_MIN ((__TIME__[3] - '0') * 10 + __TIME__[4] - '0')
#define COMPUTE_BUILD_SEC ((__TIME__[6] - '0') * 10 + __TIME__[7] - '0')

#define BUILD_DATE_IS_BAD (__DATE__[0] == '?')

#define BUILD_YEAR ((BUILD_DATE_IS_BAD) ? 99 : COMPUTE_BUILD_YEAR)
#define BUILD_MONTH ((BUILD_DATE_IS_BAD) ? 99 : COMPUTE_BUILD_MONTH)
#define BUILD_DAY ((BUILD_DATE_IS_BAD) ? 99 : COMPUTE_BUILD_DAY)

#define BUILD_TIME_IS_BAD (__TIME__[0] == '?')

#define BUILD_HOUR ((BUILD_TIME_IS_BAD) ? 99 : COMPUTE_BUILD_HOUR)
#define BUILD_MIN ((BUILD_TIME_IS_BAD) ? 99 : COMPUTE_BUILD_MIN)
#define BUILD_SEC ((BUILD_TIME_IS_BAD) ? 99 : COMPUTE_BUILD_SEC)

#define BUILD_TIMESTAMP                                                        \
  (((((((BUILD_YEAR - 2020) & 127) * 12 + (BUILD_MONTH & 15)) * 31 +           \
      (BUILD_DAY & 31)) *                                                      \
         24 +                                                                  \
     (BUILD_HOUR & 24)) *                                                      \
        60 +                                                                   \
    (BUILD_MIN & 60)) *                                                        \
       60 +                                                                    \
   (BUILD_SEC & 60))

#define TOSTRING(x) STRINGIFY(x)

#define FW_STRING                                                              \
  FW_NAME " " APP_VERSION_EXTENDED_STRING " "                                  \
          "(Commit " TOSTRING(                                                 \
              APP_BUILD_VERSION) ", Build %d-%02d-%02d %02d:%02d:%02d)\n",     \
      BUILD_YEAR, BUILD_MONTH, BUILD_DAY, BUILD_HOUR, BUILD_MIN, BUILD_SEC
```

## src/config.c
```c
#include "globals.h"
#include "system/system.h"

#include <zephyr/sys/printk.h>

#include "config.h"

#if DT_NODE_HAS_STATUS_OKAY(DT_ALIAS(retainedmemdevice))
#define MEMORY_REGION DT_PARENT(DT_ALIAS(retainedmemdevice))
#else
#error "retained_mem region not defined"
#endif

#define RETAINED_SETTINGS_OFFSET offsetof(struct retained_data, settings)

struct config_settings_data *config_settings = (struct config_settings_data *)(DT_REG_ADDR(MEMORY_REGION) + RETAINED_SETTINGS_OFFSET);

const uint16_t config_settings_count[] = {
	CONFIG_0_SETTINGS_END,
	CONFIG_1_SETTINGS_END,
	CONFIG_2_SETTINGS_END,
	CONFIG_3_SETTINGS_END
};

const char *config_settings_names[] = {
	"user_extra_actions", // 0
	"ignore_reset",
	"user_shutdown",
	"use_imu_wake_up",
	"delay_sleep_on_status",
	"connection_over_hid",
	"sensor_use_low_power_2", // 1
	"use_imu_timeout",
	"use_active_timeout",
	"sensor_use_mag",
	"use_sensor_clock",
	"sensor_use_6_side_calibration",
	"led_default_color_r", // 2
	"led_default_color_g",
	"led_default_color_b",
	"active_timeout_mode",
	"sensor_accel_odr",
	"sensor_gyro_odr",
	"sensor_accel_fs",
	"sensor_gyro_fs",
	"sensor_fusion",
	"radio_tx_power",
	"connection_timeout_delay", // 3
	"sensor_lp_timeout",
	"imu_timeout_ramp_min",
	"imu_timeout_ramp_max",
	"active_timeout_threshold",
	"active_timeout_delay",
	"battery_low_runtime_threshold"
};

const bool config_0_settings_defaults[16] = {
	IS_ENABLED(CONFIG_USER_EXTRA_ACTIONS),
	IS_ENABLED(CONFIG_IGNORE_RESET),
	IS_ENABLED(CONFIG_USER_SHUTDOWN),
	IS_ENABLED(CONFIG_USE_IMU_WAKE_UP),
	IS_ENABLED(CONFIG_DELAY_SLEEP_ON_STATUS),
	IS_ENABLED(CONFIG_CONNECTION_OVER_HID),
};

const bool config_1_settings_defaults[16] = {
	IS_ENABLED(CONFIG_SENSOR_USE_LOW_POWER_2),
	IS_ENABLED(CONFIG_USE_IMU_TIMEOUT),
	IS_ENABLED(CONFIG_USE_ACTIVE_TIMEOUT),
	IS_ENABLED(CONFIG_SENSOR_USE_MAG),
	IS_ENABLED(CONFIG_USE_SENSOR_CLOCK),
	IS_ENABLED(CONFIG_SENSOR_USE_6_SIDE_CALIBRATION),
};

const int16_t config_2_settings_defaults[16] = {
#ifdef CONFIG_LED_DEFAULT_COLOR_R
	CONFIG_LED_DEFAULT_COLOR_R, // 0-10000
#else
	4000,
#endif
#ifdef CONFIG_LED_DEFAULT_COLOR_G
	CONFIG_LED_DEFAULT_COLOR_G, // 0-10000
#else
	6000,
#endif
#ifdef CONFIG_LED_DEFAULT_COLOR_B
	CONFIG_LED_DEFAULT_COLOR_B, // 0-10000
#else
	0,
#endif
#if CONFIG_SHUTDOWN_ON_ACTIVE_TIMEOUT
	1,
#else // CONFIG_SLEEP_ON_ACTIVE_TIMEOUT
	0,
#endif
	CONFIG_SENSOR_ACCEL_ODR, // 0-3200 (e.g.)
	CONFIG_SENSOR_GYRO_ODR, // 0-3200 (e.g.)
	CONFIG_SENSOR_ACCEL_FS, // 0-32000 (e.g.)
	CONFIG_SENSOR_GYRO_FS, // 0-32000 (e.g.)
#if CONFIG_SENSOR_USE_VQF
	3,
#elif CONFIG_SENSOR_USE_NXPSENSORFUSION
	2,
#elif CONFIG_SENSOR_USE_XIOFUSION
	1,
#else
	0,
#endif
	CONFIG_RADIO_TX_POWER, // -128-127
};

const int32_t config_3_settings_defaults[16] = {
#ifdef CONFIG_CONNECTION_TIMEOUT_DELAY
	CONFIG_CONNECTION_TIMEOUT_DELAY,
#else
	300000,
#endif
	CONFIG_SENSOR_LP_TIMEOUT,
#ifdef CONFIG_IMU_TIMEOUT_RAMP_MIN
	CONFIG_IMU_TIMEOUT_RAMP_MIN,
#else
	5000,
#endif
#ifdef CONFIG_IMU_TIMEOUT_RAMP_MAX
	CONFIG_IMU_TIMEOUT_RAMP_MAX,
#else
	15000,
#endif
#ifdef CONFIG_ACTIVE_TIMEOUT_THRESHOLD
	CONFIG_ACTIVE_TIMEOUT_THRESHOLD,
#else
	15000,
#endif
#ifdef CONFIG_ACTIVE_TIMEOUT_DELAY
	CONFIG_ACTIVE_TIMEOUT_DELAY,
#else
	900000,
#endif
	CONFIG_BATTERY_LOW_RUNTIME_THRESHOLD,
};

LOG_MODULE_REGISTER(config, LOG_LEVEL_INF);

void config_settings_init(void)
{
	for (int i = 0; i < 16; i++)
	{
		uint16_t write_mask = 1 << i;
		if (!(config_settings->config_0_ovrd & write_mask))
		{
			if (config_0_settings_defaults[i])
				config_settings->config_0_settings |= write_mask;
			else
				config_settings->config_0_settings &= ~write_mask;
		}
		if (!(config_settings->config_1_ovrd & write_mask))
		{
			if (config_1_settings_defaults[i])
				config_settings->config_1_settings |= write_mask;
			else
				config_settings->config_1_settings &= ~write_mask;
		}
		if (!(config_settings->config_2_ovrd & write_mask))
			config_settings->config_2_settings[i] = config_2_settings_defaults[i];
		if (!(config_settings->config_3_ovrd & write_mask))
			config_settings->config_3_settings[i] = config_3_settings_defaults[i];
	}
}

void config_0_settings_write(uint16_t id, bool value)
{
	uint16_t write_mask = 1 << id;

	config_settings->config_0_ovrd |= write_mask;

	if (value)
		config_settings->config_0_settings |= write_mask;
	else
		config_settings->config_0_settings &= ~write_mask;

	sys_write(SETTINGS_ID, NULL, retained->settings, sizeof(retained->settings));
}

void config_1_settings_write(uint16_t id, bool value)
{
	uint16_t write_mask = 1 << id;

	config_settings->config_1_ovrd |= write_mask;

	if (value)
		config_settings->config_1_settings |= write_mask;
	else
		config_settings->config_1_settings &= ~write_mask;

	sys_write(SETTINGS_ID, NULL, retained->settings, sizeof(retained->settings));
}

void config_2_settings_write(uint16_t id, int16_t value)
{
	uint16_t write_mask = 1 << id;

	config_settings->config_2_ovrd |= write_mask;

	config_settings->config_2_settings[id] = value;

	sys_write(SETTINGS_ID, NULL, retained->settings, sizeof(retained->settings));
}

void config_3_settings_write(uint16_t id, int32_t value)
{
	uint16_t write_mask = 1 << id;

	config_settings->config_3_ovrd |= write_mask;

	config_settings->config_3_settings[id] = value;

	sys_write(SETTINGS_ID, NULL, retained->settings, sizeof(retained->settings));
}

void config_settings_reset(uint16_t config, uint16_t id)
{
	uint16_t write_mask = 1 << id;

	switch (config)
	{
	case 0:
		config_settings->config_0_ovrd &= ~write_mask;
		break;
	case 1:
		config_settings->config_1_ovrd &= ~write_mask;
		break;
	case 2:
		config_settings->config_2_ovrd &= ~write_mask;
		break;
	case 3:
		config_settings->config_3_ovrd &= ~write_mask;
		break;
	default:
	}

	config_settings_init(); // reset non-overridden value

	sys_write(SETTINGS_ID, NULL, retained->settings, sizeof(retained->settings));
}

void config_settings_reset_all(void)
{
	static bool reset_confirm = false;
	if (!reset_confirm)
	{
		printk("Resetting device settings will clear all user-defined settings to the firmware defaults. Please resend the command to confirm.\n");
		reset_confirm = true;
		return;
	}
	printk("Resetting device settings\n");

	config_settings->config_0_ovrd = 0;
	config_settings->config_1_ovrd = 0;
	config_settings->config_2_ovrd = 0;
	config_settings->config_3_ovrd = 0;

	config_settings_init(); // reset non-overridden value

	sys_write(SETTINGS_ID, NULL, retained->settings, sizeof(retained->settings));
	reset_confirm = false;
	LOG_INF("Device settings reset");
}
```
